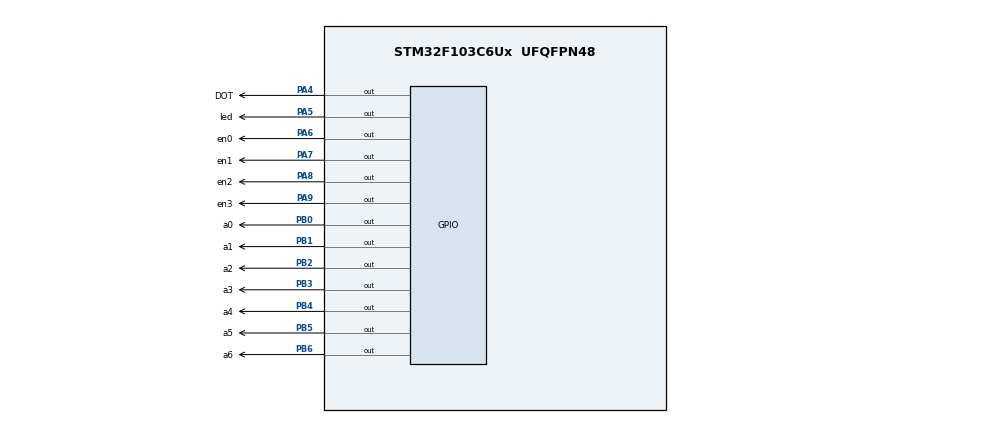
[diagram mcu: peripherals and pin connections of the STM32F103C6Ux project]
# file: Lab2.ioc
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Mcu.Family=STM32F1
Mcu.Name=STM32F103C6Ux
Mcu.Package=UFQFPN48
NVIC.PriorityGroup=NVIC_PRIORITYGROUP_4
NVIC.TIM2_IRQn=true\:0\:0\:false\:false\:true\:true\:true
PA4.GPIO_Label=DOT
PA4.Signal=GPIO_Output
PA5.GPIO_Label=led
PA5.Signal=GPIO_Output
PA6.GPIO_Label=en0
PA6.Signal=GPIO_Output
PA7.GPIO_Label=en1
PA7.Signal=GPIO_Output
PA8.GPIO_Label=en2
PA8.Signal=GPIO_Output
PA9.GPIO_Label=en3
PA9.Signal=GPIO_Output
PB0.GPIO_Label=a0
PB0.Signal=GPIO_Output
PB1.GPIO_Label=a1
PB1.Signal=GPIO_Output
PB2.GPIO_Label=a2
PB2.Signal=GPIO_Output
PB3.GPIO_Label=a3
PB3.Signal=GPIO_Output
PB4.GPIO_Label=a4
PB4.Signal=GPIO_Output
PB5.GPIO_Label=a5
PB5.Signal=GPIO_Output
PB6.GPIO_Label=a6
PB6.Signal=GPIO_Output
ProjectManager.HeapSize=0x200
ProjectManager.StackSize=0x400
ProjectManager.TargetToolchain=STM32CubeIDE
RCC.APB1Freq_Value=8000000
RCC.APB2Freq_Value=8000000
TIM2.Period=9
TIM2.Prescaler=7999
VP_SYS_VS_ND.Mode=No_Debug
VP_TIM2_VS_ClockSourceINT.Mode=Internal
board=custom

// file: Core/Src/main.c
/* USER CODE BEGIN Header */
/* USER CODE END Header */
#include "main.h"

TIM_HandleTypeDef htim2;

void SystemClock_Config(void);
static void MX_GPIO_Init(void);
static void MX_TIM2_Init(void);

/* USER CODE BEGIN 0 */
void clear7SEG() {
    HAL_GPIO_WritePin(a0_GPIO_Port, a0_Pin, GPIO_PIN_SET);
    HAL_GPIO_WritePin(a1_GPIO_Port, a1_Pin, GPIO_PIN_SET);
    HAL_GPIO_WritePin(a2_GPIO_Port, a2_Pin, GPIO_PIN_SET);
    HAL_GPIO_WritePin(a3_GPIO_Port, a3_Pin, GPIO_PIN_SET);
    HAL_GPIO_WritePin(a4_GPIO_Port, a4_Pin, GPIO_PIN_SET);
    HAL_GPIO_WritePin(a5_GPIO_Port, a5_Pin, GPIO_PIN_SET);
    HAL_GPIO_WritePin(a6_GPIO_Port, a6_Pin, GPIO_PIN_SET);
}

void display7SEG (int num) {
    clear7SEG();
    switch (num) {
        case 0: HAL_GPIO_WritePin(a0_GPIO_Port,a0_Pin,GPIO_PIN_RESET);
                HAL_GPIO_WritePin(a1_GPIO_Port,a1_Pin,GPIO_PIN_RESET);
                HAL_GPIO_WritePin(a2_GPIO_Port,a2_Pin,GPIO_PIN_RESET);
                HAL_GPIO_WritePin(a3_GPIO_Port,a3_Pin,GPIO_PIN_RESET);
                HAL_GPIO_WritePin(a4_GPIO_Port,a4_Pin,GPIO_PIN_RESET);
                HAL_GPIO_WritePin(a5_GPIO_Port,a5_Pin,GPIO_PIN_RESET);
                break;
        case 1: HAL_GPIO_WritePin(a1_GPIO_Port,a1_Pin,GPIO_PIN_RESET);
                HAL_GPIO_WritePin(a2_GPIO_Port,a2_Pin,GPIO_PIN_RESET);
                break;
        case 2: HAL_GPIO_WritePin(a0_GPIO_Port,a0_Pin,GPIO_PIN_RESET);
                HAL_GPIO_WritePin(a1_GPIO_Port,a1_Pin,GPIO_PIN_RESET);
                HAL_GPIO_WritePin(a3_GPIO_Port,a3_Pin,GPIO_PIN_RESET);
                HAL_GPIO_WritePin(a4_GPIO_Port,a4_Pin,GPIO_PIN_RESET);
                HAL_GPIO_WritePin(a6_GPIO_Port,a6_Pin,GPIO_PIN_RESET);
                break;
        case 3: HAL_GPIO_WritePin(a0_GPIO_Port,a0_Pin,GPIO_PIN_RESET);
                HAL_GPIO_WritePin(a1_GPIO_Port,a1_Pin,GPIO_PIN_RESET);
                HAL_GPIO_WritePin(a2_GPIO_Port,a2_Pin,GPIO_PIN_RESET);
                HAL_GPIO_WritePin(a3_GPIO_Port,a3_Pin,GPIO_PIN_RESET);
                HAL_GPIO_WritePin(a6_GPIO_Port,a6_Pin,GPIO_PIN_RESET);
                break;
        case 4: HAL_GPIO_WritePin(a1_GPIO_Port,a1_Pin,GPIO_PIN_RESET);
                HAL_GPIO_WritePin(a2_GPIO_Port,a2_Pin,GPIO_PIN_RESET);
                HAL_GPIO_WritePin(a5_GPIO_Port,a5_Pin,GPIO_PIN_RESET);
                HAL_GPIO_WritePin(a6_GPIO_Port,a6_Pin,GPIO_PIN_RESET);
                break;
        case 5: HAL_GPIO_WritePin(a0_GPIO_Port,a0_Pin,GPIO_PIN_RESET);
                HAL_GPIO_WritePin(a2_GPIO_Port,a2_Pin,GPIO_PIN_RESET);
                HAL_GPIO_WritePin(a3_GPIO_Port,a3_Pin,GPIO_PIN_RESET);
                HAL_GPIO_WritePin(a5_GPIO_Port,a5_Pin,GPIO_PIN_RESET);
                HAL_GPIO_WritePin(a6_GPIO_Port,a6_Pin,GPIO_PIN_RESET);
                break;
        case 6: HAL_GPIO_WritePin(a0_GPIO_Port,a0_Pin,GPIO_PIN_RESET);
                HAL_GPIO_WritePin(a2_GPIO_Port,a2_Pin,GPIO_PIN_RESET);
                HAL_GPIO_WritePin(a3_GPIO_Port,a3_Pin,GPIO_PIN_RESET);
                HAL_GPIO_WritePin(a4_GPIO_Port,a4_Pin,GPIO_PIN_RESET);
                HAL_GPIO_WritePin(a5_GPIO_Port,a5_Pin,GPIO_PIN_RESET);
                HAL_GPIO_WritePin(a6_GPIO_Port,a6_Pin,GPIO_PIN_RESET);
                break;
        case 7: HAL_GPIO_WritePin(a0_GPIO_Port,a0_Pin,GPIO_PIN_RESET);
                HAL_GPIO_WritePin(a1_GPIO_Port,a1_Pin,GPIO_PIN_RESET);
                HAL_GPIO_WritePin(a2_GPIO_Port,a2_Pin,GPIO_PIN_RESET);
                break;
        case 8: HAL_GPIO_WritePin(a0_GPIO_Port,a0_Pin,GPIO_PIN_RESET);
                HAL_GPIO_WritePin(a1_GPIO_Port,a1_Pin,GPIO_PIN_RESET);
                HAL_GPIO_WritePin(a2_GPIO_Port,a2_Pin,GPIO_PIN_RESET);
                HAL_GPIO_WritePin(a3_GPIO_Port,a3_Pin,GPIO_PIN_RESET);
                HAL_GPIO_WritePin(a4_GPIO_Port,a4_Pin,GPIO_PIN_RESET);
                HAL_GPIO_WritePin(a5_GPIO_Port,a5_Pin,GPIO_PIN_RESET);
                HAL_GPIO_WritePin(a6_GPIO_Port,a6_Pin,GPIO_PIN_RESET);
                break;
        case 9: HAL_GPIO_WritePin(a0_GPIO_Port,a0_Pin,GPIO_PIN_RESET);
                HAL_GPIO_WritePin(a1_GPIO_Port,a1_Pin,GPIO_PIN_RESET);
                HAL_GPIO_WritePin(a2_GPIO_Port,a2_Pin,GPIO_PIN_RESET);
                HAL_GPIO_WritePin(a3_GPIO_Port,a3_Pin,GPIO_PIN_RESET);
                HAL_GPIO_WritePin(a5_GPIO_Port,a5_Pin,GPIO_PIN_RESET);
                HAL_GPIO_WritePin(a6_GPIO_Port,a6_Pin,GPIO_PIN_RESET);
                break;
        default: clear7SEG(); break;
    }
}
void initState() {
    // tắt tất cả các đoạn
    clear7SEG();

    // disable tất cả 4 LED 7 đoạn
    HAL_GPIO_WritePin(en0_GPIO_Port, en0_Pin, GPIO_PIN_SET);
    HAL_GPIO_WritePin(en1_GPIO_Port, en1_Pin, GPIO_PIN_SET);
    HAL_GPIO_WritePin(en2_GPIO_Port, en2_Pin, GPIO_PIN_SET);
    HAL_GPIO_WritePin(en3_GPIO_Port, en3_Pin, GPIO_PIN_SET);

    // tắt 2 LED dot và led_red
    HAL_GPIO_WritePin(DOT_GPIO_Port, DOT_Pin, GPIO_PIN_RESET);
    HAL_GPIO_WritePin(led_GPIO_Port, led_Pin, GPIO_PIN_RESET);
}
void clearEN() {
    HAL_GPIO_WritePin(en0_GPIO_Port, en0_Pin, GPIO_PIN_SET);
    HAL_GPIO_WritePin(en1_GPIO_Port, en1_Pin, GPIO_PIN_SET);
    HAL_GPIO_WritePin(en2_GPIO_Port, en2_Pin, GPIO_PIN_SET);
    HAL_GPIO_WritePin(en3_GPIO_Port, en3_Pin, GPIO_PIN_SET);
}

void update7SEG(int idx) {
	int led_buffer[4] = {1, 2, 3, 4};
	clearEN();
    switch (idx) {
        case 0:
            display7SEG(led_buffer[0]);
            HAL_GPIO_WritePin(en0_GPIO_Port, en0_Pin, GPIO_PIN_RESET);
            break;
        case 1:
            display7SEG(led_buffer[1]);
            HAL_GPIO_WritePin(en1_GPIO_Port, en1_Pin, GPIO_PIN_RESET);
            break;
        case 2:
            display7SEG(led_buffer[2]);
            HAL_GPIO_WritePin(en2_GPIO_Port, en2_Pin, GPIO_PIN_RESET);
            break;
        case 3:
            display7SEG(led_buffer[3]);
            HAL_GPIO_WritePin(en3_GPIO_Port, en3_Pin, GPIO_PIN_RESET);
            break;
        default:
            break;
    }
}

/* USER CODE END 0 */

int main(void)
{

  /* MCU Configuration--------------------------------------------------------*/

  /* Reset of all peripherals, Initializes the Flash interface and the Systick. */
  HAL_Init();

  /* Configure the system clock */
  SystemClock_Config();

  /* Initialize all configured peripherals */
  MX_GPIO_Init();
  MX_TIM2_Init();
  /* USER CODE BEGIN 2 */
  HAL_TIM_Base_Start_IT (&htim2);
   initState();
  /* USER CODE END 2 */

  /* Infinite loop */
   while (1)
    {

    }
}

void SystemClock_Config(void)
{
  RCC_OscInitTypeDef RCC_OscInitStruct = {0};
  RCC_ClkInitTypeDef RCC_ClkInitStruct = {0};

  /** Initializes the RCC Oscillators according to the specified parameters
  * in the RCC_OscInitTypeDef structure.
  */
  RCC_OscInitStruct.OscillatorType = RCC_OSCILLATORTYPE_HSI;
  RCC_OscInitStruct.HSIState = RCC_HSI_ON;
  RCC_OscInitStruct.HSICalibrationValue = RCC_HSICALIBRATION_DEFAULT;
  RCC_OscInitStruct.PLL.PLLState = RCC_PLL_NONE;
  if (HAL_RCC_OscConfig(&RCC_OscInitStruct) != HAL_OK)
  {
    Error_Handler();
  }
  /** Initializes the CPU, AHB and APB buses clocks
  */
  RCC_ClkInitStruct.ClockType = RCC_CLOCKTYPE_HCLK|RCC_CLOCKTYPE_SYSCLK
                              |RCC_CLOCKTYPE_PCLK1|RCC_CLOCKTYPE_PCLK2;
  RCC_ClkInitStruct.SYSCLKSource = RCC_SYSCLKSOURCE_HSI;
  RCC_ClkInitStruct.AHBCLKDivider = RCC_SYSCLK_DIV1;
  RCC_ClkInitStruct.APB1CLKDivider = RCC_HCLK_DIV1;
  RCC_ClkInitStruct.APB2CLKDivider = RCC_HCLK_DIV1;

  if (HAL_RCC_ClockConfig(&RCC_ClkInitStruct, FLASH_LATENCY_0) != HAL_OK)
  {
    Error_Handler();
  }
}

static void MX_TIM2_Init(void)
{

  TIM_ClockConfigTypeDef sClockSourceConfig = {0};
  TIM_MasterConfigTypeDef sMasterConfig = {0};

  htim2.Instance = TIM2;
  htim2.Init.Prescaler = 7999;
  htim2.Init.CounterMode = TIM_COUNTERMODE_UP;
  htim2.Init.Period = 9;
  htim2.Init.ClockDivision = TIM_CLOCKDIVISION_DIV1;
  htim2.Init.AutoReloadPreload = TIM_AUTORELOAD_PRELOAD_DISABLE;
  if (HAL_TIM_Base_Init(&htim2) != HAL_OK)
  {
    Error_Handler();
  }
  sClockSourceConfig.ClockSource = TIM_CLOCKSOURCE_INTERNAL;
  if (HAL_TIM_ConfigClockSource(&htim2, &sClockSourceConfig) != HAL_OK)
  {
    Error_Handler();
  }
  sMasterConfig.MasterOutputTrigger = TIM_TRGO_RESET;
  sMasterConfig.MasterSlaveMode = TIM_MASTERSLAVEMODE_DISABLE;
  if (HAL_TIMEx_MasterConfigSynchronization(&htim2, &sMasterConfig) != HAL_OK)
  {
    Error_Handler();
  }

}

static void MX_GPIO_Init(void)
{
  GPIO_InitTypeDef GPIO_InitStruct = {0};

  /* GPIO Ports Clock Enable */
  __HAL_RCC_GPIOA_CLK_ENABLE();
  __HAL_RCC_GPIOB_CLK_ENABLE();

  /*Configure GPIO pin Output Level */
  HAL_GPIO_WritePin(GPIOA, DOT_Pin|led_Pin|en0_Pin|en1_Pin
                          |en2_Pin|en3_Pin, GPIO_PIN_RESET);

  /*Configure GPIO pin Output Level */
  HAL_GPIO_WritePin(GPIOB, a0_Pin|a1_Pin|a2_Pin|a3_Pin
                          |a4_Pin|a5_Pin|a6_Pin, GPIO_PIN_RESET);

  /*Configure GPIO pins : DOT_Pin led_Pin en0_Pin en1_Pin
                           en2_Pin en3_Pin */
  GPIO_InitStruct.Pin = DOT_Pin|led_Pin|en0_Pin|en1_Pin
                          |en2_Pin|en3_Pin;
  GPIO_InitStruct.Mode = GPIO_MODE_OUTPUT_PP;
  GPIO_InitStruct.Pull = GPIO_NOPULL;
  GPIO_InitStruct.Speed = GPIO_SPEED_FREQ_LOW;
  HAL_GPIO_Init(GPIOA, &GPIO_InitStruct);

  /*Configure GPIO pins : a0_Pin a1_Pin a2_Pin a3_Pin
                           a4_Pin a5_Pin a6_Pin */
  GPIO_InitStruct.Pin = a0_Pin|a1_Pin|a2_Pin|a3_Pin
                          |a4_Pin|a5_Pin|a6_Pin;
  GPIO_InitStruct.Mode = GPIO_MODE_OUTPUT_PP;
  GPIO_InitStruct.Pull = GPIO_NOPULL;
  GPIO_InitStruct.Speed = GPIO_SPEED_FREQ_LOW;
  HAL_GPIO_Init(GPIOB, &GPIO_InitStruct);

}

/* USER CODE BEGIN 4 */

int counter = 50;
int idx = 0;
void HAL_TIM_PeriodElapsedCallback(TIM_HandleTypeDef *htim) {
    if (htim->Instance == TIM2) {
        counter--;

        if (counter == 25 || counter == 0) {
            if (counter == 0) {
                counter = 50;
                HAL_GPIO_TogglePin(GPIOA, led_Pin | DOT_Pin);
            }
            update7SEG(idx);

            idx = (idx + 1) % 4;
        }
    }

/* USER CODE END 4 */
}
void Error_Handler(void)
{
}

/************************ (C) COPYRIGHT STMicroelectronics *****END OF FILE****/
